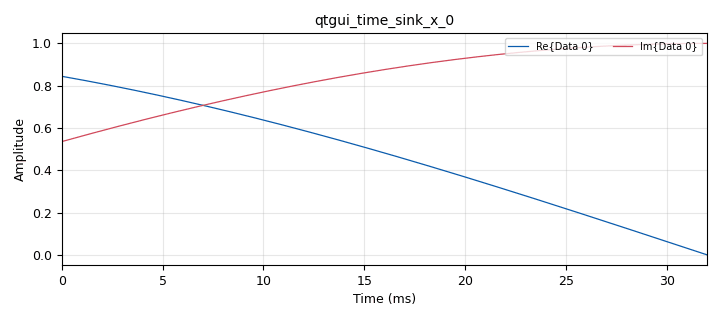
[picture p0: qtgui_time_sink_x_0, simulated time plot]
options:
  parameters:
    generate_options: qt_gui
    id: test
    output_language: python
    title: Not titled yet
  states: {}

blocks:
- name: samp_rate
  id: variable
  parameters:
    value: '32000'
  states: {}
- name: variable_qtgui_range_0
  id: variable_qtgui_range
  parameters:
    start: '0'
    step: '1'
    stop: '10'
    value: '5'
  states: {}
- name: analog_sig_source_x_0
  id: analog_sig_source_x
  parameters:
    amp: '1'
    freq: variable_qtgui_range_0
    offset: '0'
    phase: '0'
    samp_rate: samp_rate
    type: complex
    waveform: analog.GR_COS_WAVE
  states: {}
- name: qtgui_time_sink_x_0
  id: qtgui_time_sink_x
  parameters:
    autoscale: 'True'
    size: '1024'
    srate: samp_rate
    type: complex
    update_time: '0.1'
  states: {}

connections:
- [analog_sig_source_x_0, '0', qtgui_time_sink_x_0, '0']

metadata:
  file_format: 1
  grc_version: 3.10.9.2
